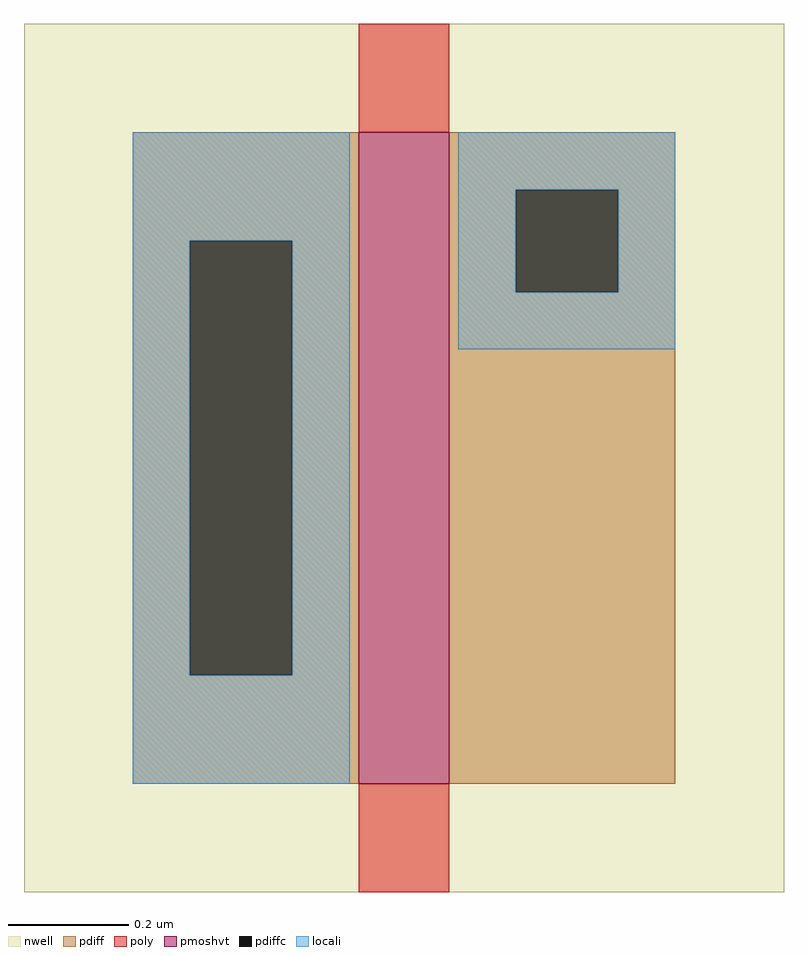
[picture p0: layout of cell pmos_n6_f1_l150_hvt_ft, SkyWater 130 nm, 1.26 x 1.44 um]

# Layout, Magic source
magic
tech sky130A
magscale 1 2
<< nwell >>
rect -72 -36 180 252
<< pmoshvt >>
rect 39 0 69 216
<< pdiff >>
rect -36 180 39 216
rect -36 36 -17 180
rect 17 36 39 180
rect -36 0 39 36
rect 69 197 144 216
rect 69 163 91 197
rect 125 163 144 197
rect 69 0 144 163
<< pdiffc >>
rect -17 36 17 180
rect 91 163 125 197
<< poly >>
rect 39 216 69 252
rect 39 -36 69 0
<< locali >>
rect -36 180 36 216
rect -36 36 -17 180
rect 17 36 36 180
rect 72 197 144 216
rect 72 163 91 197
rect 125 163 144 197
rect 72 144 144 163
rect -36 0 36 36
<< end >>
